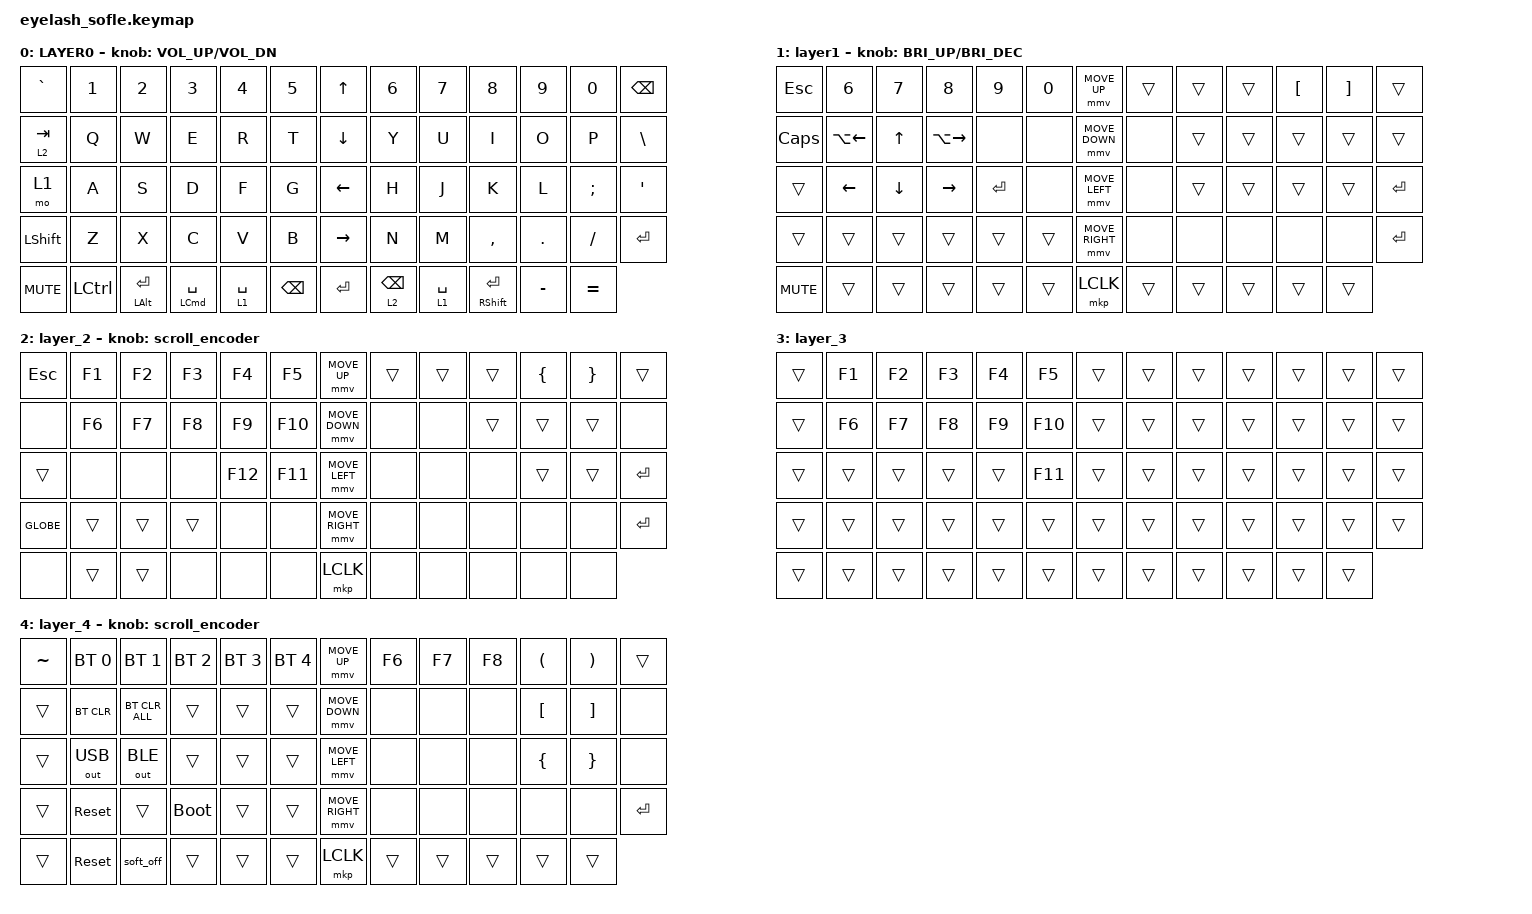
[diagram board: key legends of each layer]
#define ZMK_POINTING_DEFAULT_MOVE_VAL 1200  // 600
#define ZMK_POINTING_DEFAULT_SCRL_VAL 25   // 10

#include <input/processors.dtsi>
#include <zephyr/dt-bindings/input/input-event-codes.h>
#include <behaviors.dtsi>
#include <dt-bindings/zmk/bt.h>
#include <dt-bindings/zmk/keys.h>
#include <dt-bindings/zmk/outputs.h>
#include <dt-bindings/zmk/pointing.h>

&mmv_input_listener { input-processors = <&zip_xy_scaler 2 1>; };

&msc_input_listener { input-processors = <&zip_scroll_scaler 2 1>; };

&msc {
    acceleration-exponent = <1>;      // 0
    time-to-max-speed-ms = <100>;       // 300
    delay-ms = <0>;                   // 0
};

&mmv {
    time-to-max-speed-ms = <500>;
    acceleration-exponent = <1>;
    trigger-period-ms = <16>;
};

/ {
    scroll_encoder: scroll_encoder {
        compatible = "zmk,behavior-sensor-rotate";
        #sensor-binding-cells = <0>;
        bindings = <&msc SCRL_DOWN>, <&msc SCRL_UP>;

        tap-ms = <100>;
    };

    behaviors {
    };

    keymap {
        compatible = "zmk,keymap";

        layer0 {
            bindings = <
&kp GRAVE   &kp N1     &kp N2              &kp N3                  &kp N4       &kp N5           &kp UP_ARROW     &kp N6           &kp N7       &kp N8                 &kp N9     &kp N0     &kp BACKSPACE
&lt 2 TAB   &kp Q      &kp W               &kp E                   &kp R        &kp T            &kp DOWN_ARROW   &kp Y            &kp U        &kp I                  &kp O      &kp P      &kp BSLH
&mo 1       &kp A      &kp S               &kp D                   &kp F        &kp G            &kp LEFT_ARROW   &kp H            &kp J        &kp K                  &kp L      &kp SEMI   &kp SQT
&kp LSHFT   &kp Z      &kp X               &kp C                   &kp V        &kp B            &kp RIGHT_ARROW  &kp N            &kp M        &kp COMMA              &kp DOT    &kp FSLH   &kp ENTER
&kp C_MUTE  &kp LCTRL  &mt LEFT_ALT ENTER  &mt LEFT_COMMAND SPACE  &lt 1 SPACE  &kp BACKSPACE    &kp ENTER        &lt 2 BACKSPACE  &lt 1 SPACE  &mt RIGHT_SHIFT ENTER  &kp MINUS  &kp EQUAL
            >;

            sensor-bindings = <&inc_dec_kp C_VOLUME_UP C_VOL_DN>;
            display-name = "LAYER0";
        };

        layer_1 {
            bindings = <
&kp ESC     &kp NUMBER_6        &kp N7          &kp N8               &kp N9     &kp N0    &mmv MOVE_UP     &trans  &trans  &trans  &kp LEFT_BRACKET  &kp RIGHT_BRACKET  &trans
&kp CAPS    &kp LA(LEFT_ARROW)  &kp UP_ARROW    &kp LA(RIGHT_ARROW)  &none      &none     &mmv MOVE_DOWN   &none   &trans  &trans  &trans            &trans             &trans
&trans      &kp LEFT_ARROW      &kp DOWN_ARROW  &kp RIGHT_ARROW      &kp ENTER  &none     &mmv MOVE_LEFT   &none   &trans  &trans  &trans            &trans             &kp ENTER
&trans      &trans              &trans          &trans               &trans     &trans    &mmv MOVE_RIGHT  &none   &none   &none   &none             &none              &kp ENTER
&kp C_MUTE  &trans              &trans          &trans               &trans     &trans    &mkp LCLK        &trans  &trans  &trans  &trans            &trans
            >;

            display-name = "layer1";
            sensor-bindings = <&inc_dec_kp C_BRI_UP C_BRI_DEC>;
        };

        layer_2 {
            bindings = <
&kp ESC    &kp F1  &kp F2  &kp F3  &kp F4   &kp F5     &mmv MOVE_UP     &trans  &trans  &trans  &kp LEFT_BRACE  &kp RIGHT_BRACE  &trans
&none      &kp F6  &kp F7  &kp F8  &kp F9   &kp F10    &mmv MOVE_DOWN   &none   &none   &trans  &trans          &trans           &none
&trans     &none   &none   &none   &kp F12  &kp F11    &mmv MOVE_LEFT   &none   &none   &none   &trans          &trans           &kp ENTER
&kp GLOBE  &trans  &trans  &trans  &none    &none      &mmv MOVE_RIGHT  &none   &none   &none   &none           &none            &kp ENTER
&none      &trans  &trans  &none   &none    &none      &mkp LCLK        &none   &none   &none   &none           &none
            >;

            sensor-bindings = <&scroll_encoder>;
        };

        layer_3 {
            bindings = <
&trans  &kp F1  &kp F2  &kp F3  &kp F4  &kp F5     &trans  &trans  &trans  &trans  &trans  &trans  &trans
&trans  &kp F6  &kp F7  &kp F8  &kp F9  &kp F10    &trans  &trans  &trans  &trans  &trans  &trans  &trans
&trans  &trans  &trans  &trans  &trans  &kp F11    &trans  &trans  &trans  &trans  &trans  &trans  &trans
&trans  &trans  &trans  &trans  &trans  &trans     &trans  &trans  &trans  &trans  &trans  &trans  &trans
&trans  &trans  &trans  &trans  &trans  &trans     &trans  &trans  &trans  &trans  &trans  &trans
            >;
        };

        layer_4 {
            bindings = <
&kp TILDE  &bt BT_SEL 0  &bt BT_SEL 1    &bt BT_SEL 2  &bt BT_SEL 3  &bt BT_SEL 4    &mmv MOVE_UP     &kp F6  &kp F7  &kp F8  &kp LEFT_PARENTHESIS  &kp RIGHT_PARENTHESIS  &trans
&trans     &bt BT_CLR    &bt BT_CLR_ALL  &trans        &trans        &trans          &mmv MOVE_DOWN   &none   &none   &none   &kp LEFT_BRACKET      &kp RIGHT_BRACKET      &none
&trans     &out OUT_USB  &out OUT_BLE    &trans        &trans        &trans          &mmv MOVE_LEFT   &none   &none   &none   &kp LEFT_BRACE        &kp RIGHT_BRACE        &none
&trans     &sys_reset    &trans          &bootloader   &trans        &trans          &mmv MOVE_RIGHT  &none   &none   &none   &none                 &none                  &kp ENTER
&trans     &sys_reset    &soft_off       &trans        &trans        &trans          &mkp LCLK        &trans  &trans  &trans  &trans                &trans
            >;

            sensor-bindings = <&scroll_encoder>;
        };
    };
};
